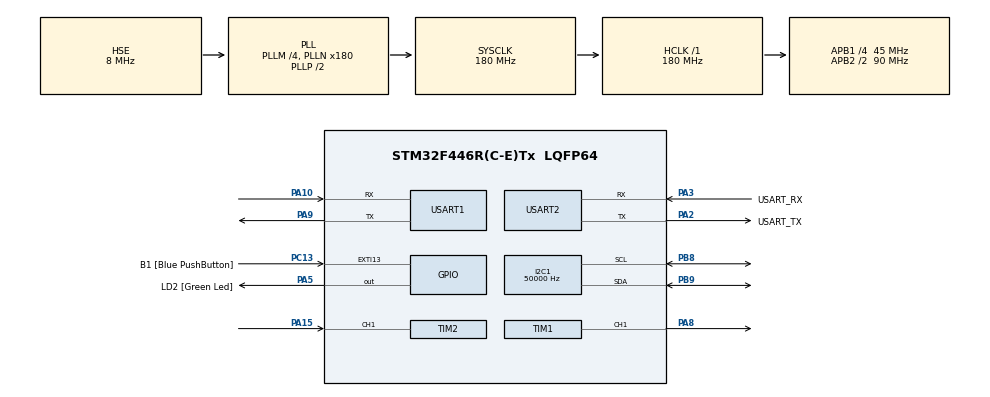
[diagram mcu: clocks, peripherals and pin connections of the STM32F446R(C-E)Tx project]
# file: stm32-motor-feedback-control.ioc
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Dma.I2C1_TX.3.Direction=DMA_MEMORY_TO_PERIPH
Dma.I2C1_TX.3.FIFOMode=DMA_FIFOMODE_DISABLE
Dma.I2C1_TX.3.Instance=DMA1_Stream7
Dma.I2C1_TX.3.MemDataAlignment=DMA_MDATAALIGN_BYTE
Dma.I2C1_TX.3.MemInc=DMA_MINC_ENABLE
Dma.I2C1_TX.3.Mode=DMA_NORMAL
Dma.I2C1_TX.3.PeriphDataAlignment=DMA_PDATAALIGN_BYTE
Dma.I2C1_TX.3.PeriphInc=DMA_PINC_DISABLE
Dma.I2C1_TX.3.Priority=DMA_PRIORITY_LOW
Dma.Request0=USART2_TX
Dma.Request1=TIM2_CH1
Dma.Request2=USART1_TX
Dma.Request3=I2C1_TX
Dma.TIM2_CH1.1.Direction=DMA_PERIPH_TO_MEMORY
Dma.TIM2_CH1.1.FIFOMode=DMA_FIFOMODE_DISABLE
Dma.TIM2_CH1.1.Instance=DMA1_Stream5
Dma.TIM2_CH1.1.MemDataAlignment=DMA_MDATAALIGN_WORD
Dma.TIM2_CH1.1.MemInc=DMA_MINC_ENABLE
Dma.TIM2_CH1.1.Mode=DMA_CIRCULAR
Dma.TIM2_CH1.1.PeriphDataAlignment=DMA_PDATAALIGN_WORD
Dma.TIM2_CH1.1.PeriphInc=DMA_PINC_DISABLE
Dma.TIM2_CH1.1.Priority=DMA_PRIORITY_LOW
Dma.USART1_TX.2.Direction=DMA_MEMORY_TO_PERIPH
Dma.USART1_TX.2.FIFOMode=DMA_FIFOMODE_DISABLE
Dma.USART1_TX.2.Instance=DMA2_Stream7
Dma.USART1_TX.2.MemDataAlignment=DMA_MDATAALIGN_BYTE
Dma.USART1_TX.2.MemInc=DMA_MINC_ENABLE
Dma.USART1_TX.2.Mode=DMA_NORMAL
Dma.USART1_TX.2.PeriphDataAlignment=DMA_PDATAALIGN_BYTE
Dma.USART1_TX.2.PeriphInc=DMA_PINC_DISABLE
Dma.USART1_TX.2.Priority=DMA_PRIORITY_LOW
Dma.USART2_TX.0.Direction=DMA_MEMORY_TO_PERIPH
Dma.USART2_TX.0.FIFOMode=DMA_FIFOMODE_DISABLE
Dma.USART2_TX.0.Instance=DMA1_Stream6
Dma.USART2_TX.0.MemDataAlignment=DMA_MDATAALIGN_BYTE
Dma.USART2_TX.0.MemInc=DMA_MINC_ENABLE
Dma.USART2_TX.0.Mode=DMA_NORMAL
Dma.USART2_TX.0.PeriphDataAlignment=DMA_PDATAALIGN_BYTE
Dma.USART2_TX.0.PeriphInc=DMA_PINC_DISABLE
Dma.USART2_TX.0.Priority=DMA_PRIORITY_LOW
I2C1.ClockSpeed=50000
Mcu.Family=STM32F4
Mcu.Name=STM32F446R(C-E)Tx
Mcu.Package=LQFP64
NVIC.DMA1_Stream5_IRQn=true\:0\:2\:false\:false\:true\:false\:true\:true
NVIC.DMA1_Stream6_IRQn=true\:0\:2\:false\:false\:true\:false\:true\:true
NVIC.DMA1_Stream7_IRQn=true\:0\:2\:false\:false\:true\:false\:true\:true
NVIC.DMA2_Stream7_IRQn=true\:0\:2\:false\:false\:true\:false\:true\:true
NVIC.I2C1_ER_IRQn=true\:0\:0\:false\:false\:true\:true\:true\:true
NVIC.I2C1_EV_IRQn=true\:0\:0\:false\:false\:true\:true\:true\:true
NVIC.PriorityGroup=NVIC_PRIORITYGROUP_0
NVIC.TIM2_IRQn=true\:0\:1\:false\:false\:true\:true\:true\:true
NVIC.TIM8_UP_TIM13_IRQn=true\:0\:1\:true\:false\:true\:true\:true\:true
NVIC.USART1_IRQn=true\:0\:2\:false\:false\:true\:true\:true\:true
NVIC.USART2_IRQn=true\:0\:3\:false\:false\:true\:true\:true\:true
PA10.Mode=Asynchronous
PA10.Signal=USART1_RX
PA13.GPIO_Label=TMS
PA13.Mode=Serial_Wire
PA13.Signal=SYS_JTMS-SWDIO
PA14.GPIO_Label=TCK
PA14.Mode=Serial_Wire
PA14.Signal=SYS_JTCK-SWCLK
PA15.Signal=S_TIM2_CH1_ETR
PA2.GPIO_Label=USART_TX
PA2.Mode=Asynchronous
PA2.Signal=USART2_TX
PA3.GPIO_Label=USART_RX
PA3.Mode=Asynchronous
PA3.Signal=USART2_RX
PA5.GPIO_Label=LD2 [Green Led]
PA5.Signal=GPIO_Output
PA8.Signal=S_TIM1_CH1
PA9.Mode=Asynchronous
PA9.Signal=USART1_TX
PB3.GPIO_Label=SWO
PB3.Signal=SYS_JTDO-SWO
PB8.Mode=I2C
PB8.Signal=I2C1_SCL
PB9.Mode=I2C
PB9.Signal=I2C1_SDA
PC13.GPIO_Label=B1 [Blue PushButton]
PC13.GPIO_ModeDefaultEXTI=GPIO_MODE_IT_FALLING
PC13.Signal=GPXTI13
PC14-OSC32_IN.Mode=LSE-External-Oscillator
PC14-OSC32_IN.Signal=RCC_OSC32_IN
PC15-OSC32_OUT.Mode=LSE-External-Oscillator
PC15-OSC32_OUT.Signal=RCC_OSC32_OUT
PH0-OSC_IN.Mode=HSE-External-Clock-Source
PH0-OSC_IN.Signal=RCC_OSC_IN
PH1-OSC_OUT.Mode=HSE-External-Clock-Source
PH1-OSC_OUT.Signal=RCC_OSC_OUT
ProjectManager.HeapSize=0x200
ProjectManager.StackSize=0x400
ProjectManager.TargetToolchain=STM32CubeIDE
RCC.48MHZClocksFreq_Value=84000000
RCC.AHBFreq_Value=180000000
RCC.APB1CLKDivider=RCC_HCLK_DIV4
RCC.APB1Freq_Value=45000000
RCC.APB1TimFreq_Value=90000000
RCC.APB2CLKDivider=RCC_HCLK_DIV2
RCC.APB2Freq_Value=90000000
RCC.APB2TimFreq_Value=180000000
RCC.CortexFreq_Value=180000000
RCC.FLatency-AdvancedSettings=FLASH_LATENCY_5
RCC.HCLKFreq_Value=180000000
RCC.HSE_VALUE=8000000
RCC.HSI_VALUE=16000000
RCC.PLLM=4
RCC.PLLN=180
RCC.PLLSourceVirtual=RCC_PLLSOURCE_HSE
RCC.SYSCLKFreq_VALUE=180000000
RCC.SYSCLKSource=RCC_SYSCLKSOURCE_PLLCLK
RCC.USBFreq_Value=180000000
RCC.VCOOutputFreq_Value=360000000
SH.S_TIM1_CH1.0=TIM1_CH1,PWM Generation1 CH1
SH.S_TIM2_CH1_ETR.0=TIM2_CH1,Input_Capture1_from_TI1
TIM1.Channel-PWM\ Generation1\ CH1=TIM_CHANNEL_1
TIM1.Period=1500-1
TIM1.Prescaler=10-1
TIM2.Channel-Input_Capture1_from_TI1=TIM_CHANNEL_1
TIM2.ICFilter_CH1=15
TIM2.Prescaler=90-1
TIM8.Period=100-1
TIM8.Prescaler=18000-1
USART1.VirtualMode=VM_ASYNC
USART2.VirtualMode=VM_ASYNC
VP_TIM2_VS_ClockSourceINT.Mode=Internal
VP_TIM8_VS_ClockSourceINT.Mode=Internal
board=NUCLEO-F446RE

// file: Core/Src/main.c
/* USER CODE BEGIN Header */
/**
  ******************************************************************************
  * @file           : main.c
  * @brief          : Main program body for optical sensor
  ******************************************************************************
  * @attention
  *
  * Copyright (c) 2026 STMicroelectronics.
  * All rights reserved.
  *
  * This software is licensed under terms that can be found in the LICENSE file
  * in the root directory of this software component.
  * If no LICENSE file comes with this software, it is provided AS-IS.
  *
  ******************************************************************************
  */
/* USER CODE END Header */
#include "main.h"

/* USER CODE BEGIN Includes */
#include "rpm_sensor.h"
#include "motor_control.h"
#include "telemetry.h"
#include "lcd.h"
/* USER CODE END Includes */

I2C_HandleTypeDef hi2c1;
DMA_HandleTypeDef hdma_i2c1_tx;

TIM_HandleTypeDef htim1;
TIM_HandleTypeDef htim2;
TIM_HandleTypeDef htim8;
DMA_HandleTypeDef hdma_tim2_ch1;

UART_HandleTypeDef huart1;
UART_HandleTypeDef huart2;
DMA_HandleTypeDef hdma_usart1_tx;
DMA_HandleTypeDef hdma_usart2_tx;

/* USER CODE BEGIN PV */

volatile uint8_t lcd_transmit_flag = 0;
volatile uint8_t esp32_transmit_flag = 0;

static uint32_t lcd_last_blind_wipe = 0;
extern volatile uint8_t lcd_needs_recovery;

/* USER CODE END PV */

void SystemClock_Config(void);
static void MX_GPIO_Init(void);
static void MX_DMA_Init(void);
static void MX_USART2_UART_Init(void);
static void MX_TIM1_Init(void);
static void MX_I2C1_Init(void);
static void MX_TIM2_Init(void);
static void MX_TIM8_Init(void);
static void MX_USART1_UART_Init(void);

int main(void)
{

  /* MCU Configuration--------------------------------------------------------*/

  /* Reset of all peripherals, Initializes the Flash interface and the Systick. */
  HAL_Init();

  /* Configure the system clock */
  SystemClock_Config();

  /* Initialize all configured peripherals */
  MX_GPIO_Init();
  MX_DMA_Init();
  MX_USART2_UART_Init();
  MX_TIM1_Init();
  MX_I2C1_Init();
  MX_TIM2_Init();
  MX_TIM8_Init();
  MX_USART1_UART_Init();
  /* USER CODE BEGIN 2 */

  HAL_TIM_Base_Start_IT(&htim8);
  Motor_Init();
  RPM_Sensor_Init();
  Telemetry_Init();
  LCD_Init();

  /* USER CODE END 2 */

  /* Infinite loop */
  while (1)
  {

    /* USER CODE BEGIN 3 */

	  // Process new RPM data from sensor
	  if (new_rpm_data) {
		  RPM_Process_Data();
		  new_rpm_data = 0;
	  }

	  // timeout logic to detect when RPM = 0 (If no pulses seen for too long, set RPM to zero)
	  RPM_Check_Timeout();

	  if (esp32_transmit_flag >= 4) {
	      esp32_transmit_flag -= 4;
	      Telemetry_Transmit_ESP32();
	  }

	  if (lcd_transmit_flag >= 20) {
	      lcd_transmit_flag -= 20;

	      // THE BLIND RECOVERY:
	      // Force a full screen initialization every 15 seconds just in case it suffered a Nibble Desync
	      if (HAL_GetTick() - lcd_last_blind_wipe > 7000) {
	          lcd_needs_recovery = 1;
	          lcd_last_blind_wipe = HAL_GetTick();
	      }

	      LCD_Update_Display();
	  }

  }

  /* USER CODE END 3 */
}

void SystemClock_Config(void)
{
  RCC_OscInitTypeDef RCC_OscInitStruct = {0};
  RCC_ClkInitTypeDef RCC_ClkInitStruct = {0};

  /** Configure the main internal regulator output voltage
  */
  __HAL_RCC_PWR_CLK_ENABLE();
  __HAL_PWR_VOLTAGESCALING_CONFIG(PWR_REGULATOR_VOLTAGE_SCALE1);

  /** Initializes the RCC Oscillators according to the specified parameters
  * in the RCC_OscInitTypeDef structure.
  */
  RCC_OscInitStruct.OscillatorType = RCC_OSCILLATORTYPE_HSE;
  RCC_OscInitStruct.HSEState = RCC_HSE_BYPASS;
  RCC_OscInitStruct.PLL.PLLState = RCC_PLL_ON;
  RCC_OscInitStruct.PLL.PLLSource = RCC_PLLSOURCE_HSE;
  RCC_OscInitStruct.PLL.PLLM = 4;
  RCC_OscInitStruct.PLL.PLLN = 180;
  RCC_OscInitStruct.PLL.PLLP = RCC_PLLP_DIV2;
  RCC_OscInitStruct.PLL.PLLQ = 2;
  RCC_OscInitStruct.PLL.PLLR = 2;
  if (HAL_RCC_OscConfig(&RCC_OscInitStruct) != HAL_OK)
  {
    Error_Handler();
  }

  /** Activate the Over-Drive mode
  */
  if (HAL_PWREx_EnableOverDrive() != HAL_OK)
  {
    Error_Handler();
  }

  /** Initializes the CPU, AHB and APB buses clocks
  */
  RCC_ClkInitStruct.ClockType = RCC_CLOCKTYPE_HCLK|RCC_CLOCKTYPE_SYSCLK
                              |RCC_CLOCKTYPE_PCLK1|RCC_CLOCKTYPE_PCLK2;
  RCC_ClkInitStruct.SYSCLKSource = RCC_SYSCLKSOURCE_PLLCLK;
  RCC_ClkInitStruct.AHBCLKDivider = RCC_SYSCLK_DIV1;
  RCC_ClkInitStruct.APB1CLKDivider = RCC_HCLK_DIV4;
  RCC_ClkInitStruct.APB2CLKDivider = RCC_HCLK_DIV2;

  if (HAL_RCC_ClockConfig(&RCC_ClkInitStruct, FLASH_LATENCY_5) != HAL_OK)
  {
    Error_Handler();
  }
}

static void MX_I2C1_Init(void)
{

  hi2c1.Instance = I2C1;
  hi2c1.Init.ClockSpeed = 50000;
  hi2c1.Init.DutyCycle = I2C_DUTYCYCLE_2;
  hi2c1.Init.OwnAddress1 = 0;
  hi2c1.Init.AddressingMode = I2C_ADDRESSINGMODE_7BIT;
  hi2c1.Init.DualAddressMode = I2C_DUALADDRESS_DISABLE;
  hi2c1.Init.OwnAddress2 = 0;
  hi2c1.Init.GeneralCallMode = I2C_GENERALCALL_DISABLE;
  hi2c1.Init.NoStretchMode = I2C_NOSTRETCH_DISABLE;
  if (HAL_I2C_Init(&hi2c1) != HAL_OK)
  {
    Error_Handler();
  }

}

static void MX_TIM1_Init(void)
{

  TIM_MasterConfigTypeDef sMasterConfig = {0};
  TIM_OC_InitTypeDef sConfigOC = {0};
  TIM_BreakDeadTimeConfigTypeDef sBreakDeadTimeConfig = {0};

  htim1.Instance = TIM1;
  htim1.Init.Prescaler = 10-1;
  htim1.Init.CounterMode = TIM_COUNTERMODE_UP;
  htim1.Init.Period = 1500-1;
  htim1.Init.ClockDivision = TIM_CLOCKDIVISION_DIV1;
  htim1.Init.RepetitionCounter = 0;
  htim1.Init.AutoReloadPreload = TIM_AUTORELOAD_PRELOAD_DISABLE;
  if (HAL_TIM_PWM_Init(&htim1) != HAL_OK)
  {
    Error_Handler();
  }
  sMasterConfig.MasterOutputTrigger = TIM_TRGO_RESET;
  sMasterConfig.MasterSlaveMode = TIM_MASTERSLAVEMODE_DISABLE;
  if (HAL_TIMEx_MasterConfigSynchronization(&htim1, &sMasterConfig) != HAL_OK)
  {
    Error_Handler();
  }
  sConfigOC.OCMode = TIM_OCMODE_PWM1;
  sConfigOC.Pulse = 0;
  sConfigOC.OCPolarity = TIM_OCPOLARITY_HIGH;
  sConfigOC.OCNPolarity = TIM_OCNPOLARITY_HIGH;
  sConfigOC.OCFastMode = TIM_OCFAST_DISABLE;
  sConfigOC.OCIdleState = TIM_OCIDLESTATE_RESET;
  sConfigOC.OCNIdleState = TIM_OCNIDLESTATE_RESET;
  if (HAL_TIM_PWM_ConfigChannel(&htim1, &sConfigOC, TIM_CHANNEL_1) != HAL_OK)
  {
    Error_Handler();
  }
  sBreakDeadTimeConfig.OffStateRunMode = TIM_OSSR_DISABLE;
  sBreakDeadTimeConfig.OffStateIDLEMode = TIM_OSSI_DISABLE;
  sBreakDeadTimeConfig.LockLevel = TIM_LOCKLEVEL_OFF;
  sBreakDeadTimeConfig.DeadTime = 0;
  sBreakDeadTimeConfig.BreakState = TIM_BREAK_DISABLE;
  sBreakDeadTimeConfig.BreakPolarity = TIM_BREAKPOLARITY_HIGH;
  sBreakDeadTimeConfig.AutomaticOutput = TIM_AUTOMATICOUTPUT_DISABLE;
  if (HAL_TIMEx_ConfigBreakDeadTime(&htim1, &sBreakDeadTimeConfig) != HAL_OK)
  {
    Error_Handler();
  }
  HAL_TIM_MspPostInit(&htim1);

}

static void MX_TIM2_Init(void)
{

  TIM_ClockConfigTypeDef sClockSourceConfig = {0};
  TIM_MasterConfigTypeDef sMasterConfig = {0};
  TIM_IC_InitTypeDef sConfigIC = {0};

  htim2.Instance = TIM2;
  htim2.Init.Prescaler = 90-1;
  htim2.Init.CounterMode = TIM_COUNTERMODE_UP;
  htim2.Init.Period = 4294967295;
  htim2.Init.ClockDivision = TIM_CLOCKDIVISION_DIV1;
  htim2.Init.AutoReloadPreload = TIM_AUTORELOAD_PRELOAD_DISABLE;
  if (HAL_TIM_Base_Init(&htim2) != HAL_OK)
  {
    Error_Handler();
  }
  sClockSourceConfig.ClockSource = TIM_CLOCKSOURCE_INTERNAL;
  if (HAL_TIM_ConfigClockSource(&htim2, &sClockSourceConfig) != HAL_OK)
  {
    Error_Handler();
  }
  if (HAL_TIM_IC_Init(&htim2) != HAL_OK)
  {
    Error_Handler();
  }
  sMasterConfig.MasterOutputTrigger = TIM_TRGO_RESET;
  sMasterConfig.MasterSlaveMode = TIM_MASTERSLAVEMODE_DISABLE;
  if (HAL_TIMEx_MasterConfigSynchronization(&htim2, &sMasterConfig) != HAL_OK)
  {
    Error_Handler();
  }
  sConfigIC.ICPolarity = TIM_INPUTCHANNELPOLARITY_RISING;
  sConfigIC.ICSelection = TIM_ICSELECTION_DIRECTTI;
  sConfigIC.ICPrescaler = TIM_ICPSC_DIV1;
  sConfigIC.ICFilter = 15;
  if (HAL_TIM_IC_ConfigChannel(&htim2, &sConfigIC, TIM_CHANNEL_1) != HAL_OK)
  {
    Error_Handler();
  }

}

static void MX_TIM8_Init(void)
{

  TIM_ClockConfigTypeDef sClockSourceConfig = {0};
  TIM_MasterConfigTypeDef sMasterConfig = {0};

  htim8.Instance = TIM8;
  htim8.Init.Prescaler = 18000-1;
  htim8.Init.CounterMode = TIM_COUNTERMODE_UP;
  htim8.Init.Period = 100-1;
  htim8.Init.ClockDivision = TIM_CLOCKDIVISION_DIV1;
  htim8.Init.RepetitionCounter = 0;
  htim8.Init.AutoReloadPreload = TIM_AUTORELOAD_PRELOAD_DISABLE;
  if (HAL_TIM_Base_Init(&htim8) != HAL_OK)
  {
    Error_Handler();
  }
  sClockSourceConfig.ClockSource = TIM_CLOCKSOURCE_INTERNAL;
  if (HAL_TIM_ConfigClockSource(&htim8, &sClockSourceConfig) != HAL_OK)
  {
    Error_Handler();
  }
  sMasterConfig.MasterOutputTrigger = TIM_TRGO_RESET;
  sMasterConfig.MasterSlaveMode = TIM_MASTERSLAVEMODE_DISABLE;
  if (HAL_TIMEx_MasterConfigSynchronization(&htim8, &sMasterConfig) != HAL_OK)
  {
    Error_Handler();
  }

}

static void MX_USART1_UART_Init(void)
{

  huart1.Instance = USART1;
  huart1.Init.BaudRate = 115200;
  huart1.Init.WordLength = UART_WORDLENGTH_8B;
  huart1.Init.StopBits = UART_STOPBITS_1;
  huart1.Init.Parity = UART_PARITY_NONE;
  huart1.Init.Mode = UART_MODE_TX_RX;
  huart1.Init.HwFlowCtl = UART_HWCONTROL_NONE;
  huart1.Init.OverSampling = UART_OVERSAMPLING_16;
  if (HAL_UART_Init(&huart1) != HAL_OK)
  {
    Error_Handler();
  }

}

static void MX_USART2_UART_Init(void)
{

  huart2.Instance = USART2;
  huart2.Init.BaudRate = 115200;
  huart2.Init.WordLength = UART_WORDLENGTH_8B;
  huart2.Init.StopBits = UART_STOPBITS_1;
  huart2.Init.Parity = UART_PARITY_NONE;
  huart2.Init.Mode = UART_MODE_TX_RX;
  huart2.Init.HwFlowCtl = UART_HWCONTROL_NONE;
  huart2.Init.OverSampling = UART_OVERSAMPLING_16;
  if (HAL_UART_Init(&huart2) != HAL_OK)
  {
    Error_Handler();
  }

}

static void MX_DMA_Init(void)
{

  /* DMA controller clock enable */
  __HAL_RCC_DMA1_CLK_ENABLE();
  __HAL_RCC_DMA2_CLK_ENABLE();

  /* DMA interrupt init */
  /* DMA1_Stream5_IRQn interrupt configuration */
  HAL_NVIC_SetPriority(DMA1_Stream5_IRQn, 0, 2);
  HAL_NVIC_EnableIRQ(DMA1_Stream5_IRQn);
  /* DMA1_Stream6_IRQn interrupt configuration */
  HAL_NVIC_SetPriority(DMA1_Stream6_IRQn, 0, 2);
  HAL_NVIC_EnableIRQ(DMA1_Stream6_IRQn);
  /* DMA1_Stream7_IRQn interrupt configuration */
  HAL_NVIC_SetPriority(DMA1_Stream7_IRQn, 0, 2);
  HAL_NVIC_EnableIRQ(DMA1_Stream7_IRQn);
  /* DMA2_Stream7_IRQn interrupt configuration */
  HAL_NVIC_SetPriority(DMA2_Stream7_IRQn, 0, 2);
  HAL_NVIC_EnableIRQ(DMA2_Stream7_IRQn);

}

static void MX_GPIO_Init(void)
{
  GPIO_InitTypeDef GPIO_InitStruct = {0};

  /* GPIO Ports Clock Enable */
  __HAL_RCC_GPIOC_CLK_ENABLE();
  __HAL_RCC_GPIOH_CLK_ENABLE();
  __HAL_RCC_GPIOA_CLK_ENABLE();
  __HAL_RCC_GPIOB_CLK_ENABLE();

  /*Configure GPIO pin Output Level */
  HAL_GPIO_WritePin(LD2_GPIO_Port, LD2_Pin, GPIO_PIN_RESET);

  /*Configure GPIO pin : B1_Pin */
  GPIO_InitStruct.Pin = B1_Pin;
  GPIO_InitStruct.Mode = GPIO_MODE_IT_FALLING;
  GPIO_InitStruct.Pull = GPIO_NOPULL;
  HAL_GPIO_Init(B1_GPIO_Port, &GPIO_InitStruct);

  /*Configure GPIO pin : LD2_Pin */
  GPIO_InitStruct.Pin = LD2_Pin;
  GPIO_InitStruct.Mode = GPIO_MODE_OUTPUT_PP;
  GPIO_InitStruct.Pull = GPIO_NOPULL;
  GPIO_InitStruct.Speed = GPIO_SPEED_FREQ_LOW;
  HAL_GPIO_Init(LD2_GPIO_Port, &GPIO_InitStruct);

}

/* USER CODE BEGIN 4 */

void HAL_TIM_PeriodElapsedCallback(TIM_HandleTypeDef *htim)
{
    if (htim->Instance == TIM8) // Runs every 10 ms
    {
		// Calculate and apply new PWM
		Motor_Update_PID();
		// flags to transmit current RPM and PWM to ESP32 and LCD
		esp32_transmit_flag += 1;
		lcd_transmit_flag += 1;
    }
}

/* USER CODE END 4 */

void Error_Handler(void)
{
  __disable_irq();
  while (1)
  {
  }
}
